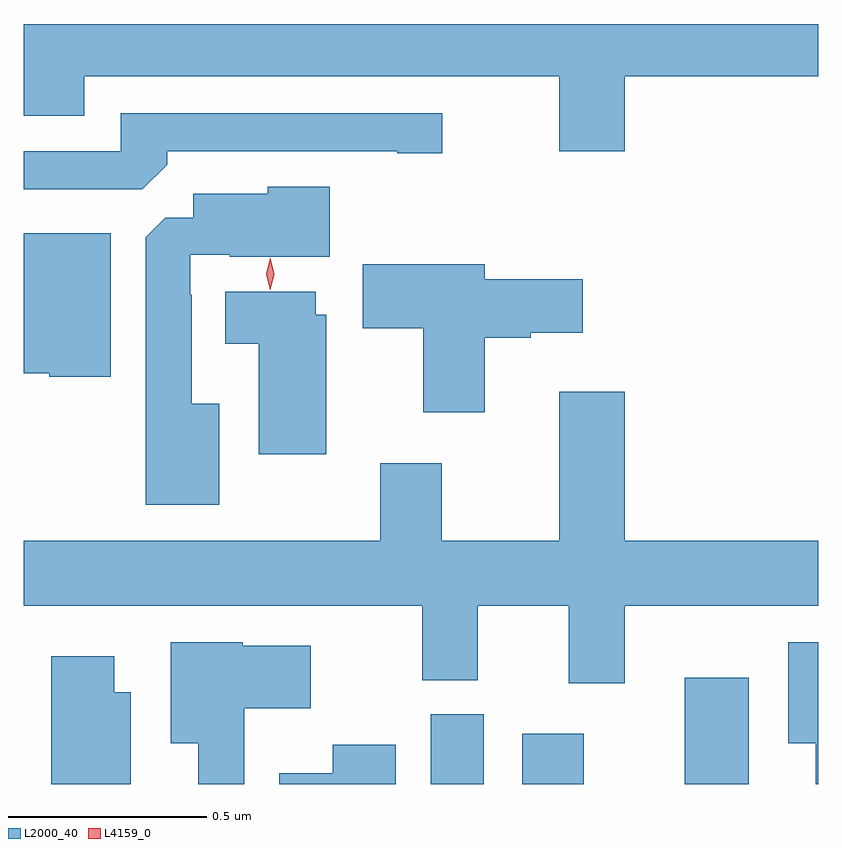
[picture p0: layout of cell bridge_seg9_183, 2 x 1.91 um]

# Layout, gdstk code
import gdstk
lib = gdstk.Library(unit=1e-6, precision=1e-09)
def R(c, l, rs):  # rectangles x0, y0, x1, y1
    for r in rs: c.add(gdstk.rectangle(r[:2], r[2:], *l))
def P(c, l, *ps):  # polygons
    for p in ps: c.add(gdstk.Polygon(p, *l))
L2000_40 = (2000, 40)
L4159_0 = (4159, 0)

bridge_seg9_183 = lib.new_cell('bridge_seg9_183')
R(bridge_seg9_183, L2000_40, [(140.708,1246.588,140.842,1246.764), (140.939,1246.588,141.094,1246.714), (141.347,1246.588,141.508,1246.855)])
P(bridge_seg9_183, L2000_40, [(141.196,1248.368),(141.684,1248.368),(141.684,1248.5),(139.684,1248.5),(139.684,1248.368),(139.685,1248.368),(139.685,1248.269),(139.837,1248.269),(139.837,1248.368),(141.032,1248.368),(141.032,1248.18),(141.196,1248.18)],
  [(140.045,1248.146),(140.045,1248.18),(140.624,1248.18),(140.624,1248.175),(140.737,1248.175),(140.737,1248.276),(139.929,1248.276),(139.929,1248.18),(139.684,1248.18),(139.684,1248.084),(139.983,1248.084)],
  [(140.176,1247.545),(140.107,1247.545),(140.107,1247.819),(140.103,1247.819),(140.103,1247.919),(140.203,1247.919),(140.203,1247.915),(140.455,1247.915),(140.455,1248.091),(140.298,1248.091),(140.298,1248.073),(140.111,1248.073),(140.111,1248.012),(140.04,1248.012),(139.991,1247.963),(139.991,1247.291),(140.176,1247.291)],
  [(139.903,1247.974),(139.684,1247.974),(139.684,1247.621),(139.749,1247.621),(139.749,1247.612),(139.903,1247.612)],
  [(140.845,1247.711),(140.96,1247.711),(140.96,1247.723),(141.091,1247.723),(141.091,1247.858),(140.845,1247.858),(140.845,1247.896),(140.538,1247.896),(140.538,1247.734),(140.69,1247.734),(140.69,1247.523),(140.845,1247.523)],
  [(140.446,1247.769),(140.419,1247.769),(140.419,1247.827),(140.192,1247.827),(140.192,1247.696),(140.276,1247.696),(140.276,1247.417),(140.446,1247.417)],
  [(141.196,1247.036),(141.684,1247.036),(141.684,1247.2),(141.196,1247.2),(141.196,1247.575),(141.032,1247.575),(141.032,1247.2),(140.736,1247.2),(140.736,1247.395),(140.581,1247.395),(140.581,1247.2),(139.684,1247.2),(139.684,1247.036),(140.687,1247.036),(140.687,1246.849),(140.827,1246.849),(140.827,1247.036),(141.056,1247.036),(141.056,1246.842),(141.196,1246.842)],
  [(141.684,1246.945),(141.608,1246.945),(141.608,1246.691),(141.677,1246.691),(141.677,1246.588),(141.684,1246.588)],
  [(140.239,1246.778),(140.407,1246.778),(140.407,1246.936),(140.235,1246.936),(140.235,1246.945),(140.054,1246.945),(140.054,1246.691),(140.123,1246.691),(140.123,1246.588),(140.239,1246.588)],
  [(139.954,1246.819),(139.912,1246.819),(139.912,1246.909),(139.754,1246.909),(139.754,1246.588),(139.954,1246.588)],
  [(140.62,1246.687),(140.462,1246.687),(140.462,1246.615),(140.327,1246.615),(140.327,1246.588),(140.62,1246.588)])
P(bridge_seg9_183, L4159_0, [(140.305,1247.83),(140.305,1247.83),(140.295,1247.871),(140.305,1247.912),(140.305,1247.912),(140.305,1247.912),(140.315,1247.871),(140.305,1247.83)])

lib.write_gds('bridge_seg9_183.gds')
